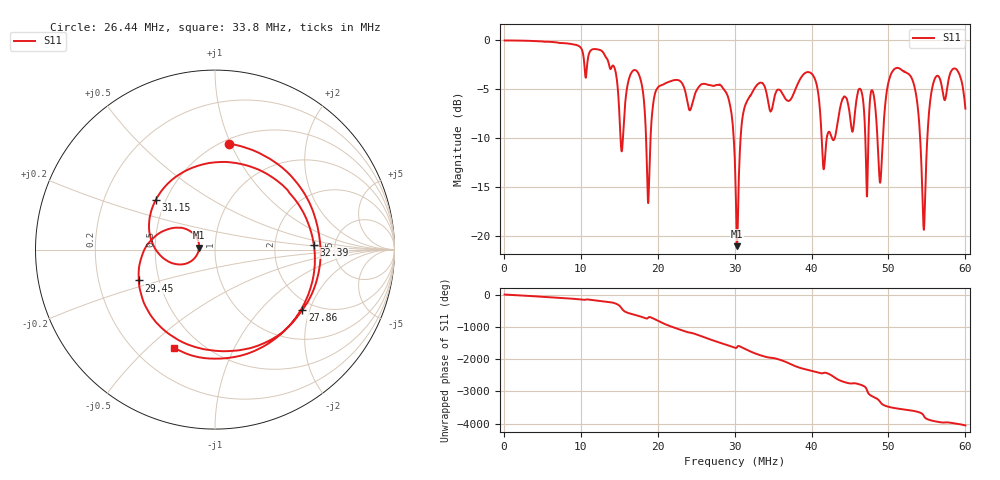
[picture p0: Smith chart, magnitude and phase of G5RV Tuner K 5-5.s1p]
# Hz S RI R 50
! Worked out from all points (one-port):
!   3030 points, 100 kHz to 60 MHz, reference 50 ohm
!   lowest |S11| = -21.0 dB at 30.32 MHz (marker M1), VSWR 1.20, Z = 41.9 + j0.934 ohm
!   |S11| at or under -10 dB: 29.89 MHz to 30.77 MHz (885.7 kHz wide, 2.92 % of centre); 48.57 MHz to 49.26 MHz (697.7 kHz wide, 1.43 % of centre); 54.12 MHz to 55.05 MHz (926.9 kHz wide, 1.7 % of centre)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
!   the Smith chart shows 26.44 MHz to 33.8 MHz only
!   S11 on the Smith chart (normalised r, x): 26.44 MHz: 0.54, +0.98; 27.86 MHz: 1.73, -1.79; 29.45 MHz: 0.38, -0.17; 31.15 MHz: 0.44, +0.30; 32.39 MHz: 3.44, +0.27; 33.8 MHz: 0.36, -0.60
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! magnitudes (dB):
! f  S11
! 100 kHz  0.0
! 7.595 MHz  -0.3
! 15.09 MHz  -8.6
! 17.4 MHz  -3.3
! 18.79 MHz  -16.5
! 19.76 MHz  -5.2
! 22.56 MHz  -4.0
! 26.44 MHz  -4.5
! 27.86 MHz  -4.6
! 29.45 MHz  -6.8
! 30.06 MHz  -13.1
! 30.32 MHz  -21.0
! 31.15 MHz  -7.3
! 32.39 MHz  -5.2
! 33.8 MHz  -4.5
! 37.55 MHz  -5.7
! 40.28 MHz  -3.7
! 41.63 MHz  -13.0
! 45.03 MHz  -8.0
! 46.39 MHz  -5.0
! 47.18 MHz  -15.8
! 47.94 MHz  -5.2
! 48.92 MHz  -14.5
! 50.15 MHz  -3.8
! 52.52 MHz  -3.4
! 54.58 MHz  -19.3
! 56.02 MHz  -3.9
! 60 MHz  -7.0
